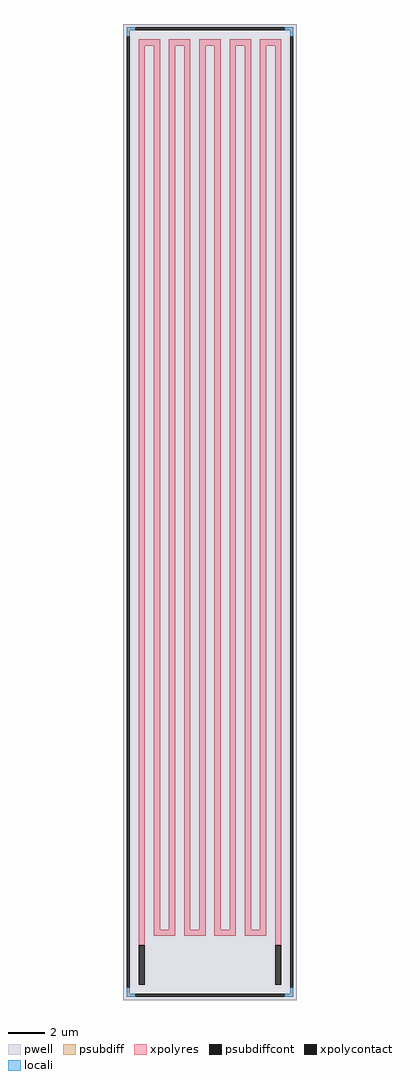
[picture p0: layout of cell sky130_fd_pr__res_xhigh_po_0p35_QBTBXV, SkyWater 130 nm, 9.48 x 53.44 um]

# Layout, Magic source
magic
tech sky130A
<< pwell >>
rect -474 -2672 474 2672
<< psubdiff >>
rect -456 2637 -408 2654
rect 408 2637 456 2654
rect -456 2606 -439 2637
rect 439 2606 456 2637
rect -456 -2637 -439 -2606
rect 439 -2637 456 -2606
rect -456 -2654 -408 -2637
rect 408 -2654 456 -2637
<< psubdiffcont >>
rect -408 2637 408 2654
rect -456 -2606 -439 2606
rect 439 -2606 456 2606
rect -408 -2654 408 -2637
<< xpolycontact >>
rect -391 -2589 -356 -2373
rect 356 -2589 391 -2373
<< xpolyres >>
rect -391 2554 -273 2589
rect -391 -2373 -356 2554
rect -308 -2286 -273 2554
rect -225 2554 -107 2589
rect -225 -2286 -190 2554
rect -308 -2321 -190 -2286
rect -142 -2286 -107 2554
rect -59 2554 59 2589
rect -59 -2286 -24 2554
rect -142 -2321 -24 -2286
rect 24 -2286 59 2554
rect 107 2554 225 2589
rect 107 -2286 142 2554
rect 24 -2321 142 -2286
rect 190 -2286 225 2554
rect 273 2554 391 2589
rect 273 -2286 308 2554
rect 190 -2321 308 -2286
rect 356 -2373 391 2554
<< locali >>
rect -456 2637 -408 2654
rect 408 2637 456 2654
rect -456 2606 -439 2637
rect 439 2606 456 2637
rect -456 -2637 -439 -2606
rect 439 -2637 456 -2606
rect -456 -2654 -408 -2637
rect 408 -2654 456 -2637
<< properties >>
string FIXED_BBOX -447 -2645 447 2645
string gencell sky130_fd_pr__res_xhigh_po_0p35
string library sky130
string parameters w 0.35 l 49.1 m 1 nx 10 wmin 0.350 lmin 0.50 rho 2000 val 2.824meg dummy 0 dw 0.0 term 188.2 sterm 0.0 caplen 0 wmax 0.350 guard 1 glc 1 grc 1 gtc 1 gbc 1 compatible {sky130_fd_pr__res_xhigh_po_0p35  sky130_fd_pr__res_xhigh_po_0p69 sky130_fd_pr__res_xhigh_po_1p41  sky130_fd_pr__res_xhigh_po_2p85 sky130_fd_pr__res_xhigh_po_5p73} snake 1 full_metal 1 n_guard 0 hv_guard 0 vias 1 viagb 0 viagt 0 viagl 0 viagr 0
<< end >>
